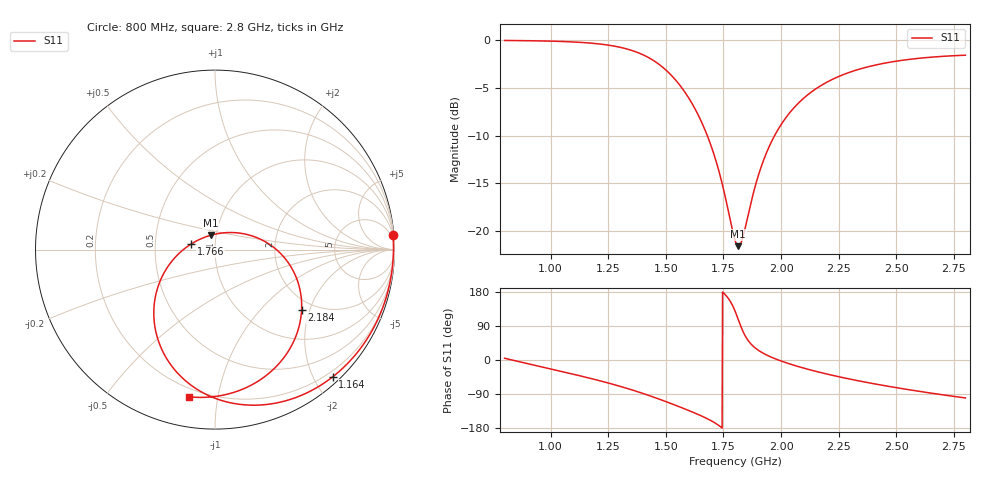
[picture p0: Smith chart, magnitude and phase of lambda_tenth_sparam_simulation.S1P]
! TOUCHSTONE file generated by CST MICROWAVE STUDIO
! Date and time: Wed Jan 17 02:02:46 2024
! Project name: DiskLoadedMonopoleTenthLambda.cst
! Parameters = {AirCoaxRadius=1.5; DiskRadius=12.5; DiskThickness=0.1; DropWireDistance=12; DropWireRadius=0.5; GroundRadius=100; GroundThickness=5; lambdaTenth=14.4}
! Header version: 2018
! Port assignment regex: !\s*Touchstone port\s*([0-9]+)\s*=\s*(CST MWS port|CST DS port)\s*([0-9]+|Zmin|Zmax)\s*\(\"(.*)\"\)(\s*mode\s*([0-9]+))?.*
! Touchstone port assignment:
! Touchstone port 1 = CST MWS port 1 ("")
# GHz S DB R 50
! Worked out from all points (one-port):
!   1001 points, 800 MHz to 2.8 GHz, reference 50 ohm
!   lowest |S11| = -21.6 dB at 1.814 GHz (marker M1), VSWR 1.18, Z = 47 + j7.54 ohm
!   |S11| at or under -10 dB: 1.68 GHz to 1.972 GHz (292.2 MHz wide, 16 % of centre)
!   S11 on the Smith chart (normalised r, x): 800 MHz: 2, +25; 1.164 GHz: 0.11, -2.29; 1.766 GHz: 0.76, +0.05; 2.184 GHz: 1.72, -1.77; 2.8 GHz: 0.15, -0.83
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0.8  -0.04 4.6
0.924  -0.08 -13.0
1.05  -0.15 -30.6
1.164  -0.30 -47.2
1.236  -0.48 -58.5
1.3  -0.75 -69.3
1.364  -1.18 -81.1
1.424  -1.83 -93.1
1.492  -2.97 -108.0
1.55  -4.41 -121.4
1.61  -6.50 -136.0
1.676  -9.77 -153.8
1.724  -13.18 -170.3
1.766  -17.32 166.6
1.8  -20.97 129.5
1.814  -21.58 107.2
1.832  -20.82 79.0
1.888  -15.27 31.7
1.932  -12.08 14.8
1.986  -9.40 0.5
2.052  -7.20 -13.2
2.116  -5.72 -24.4
2.184  -4.61 -34.9
2.3  -3.35 -50.6
2.424  -2.54 -65.0
2.55  -2.04 -78.0
2.67  -1.76 -89.1
2.8  -1.59 -100.1
